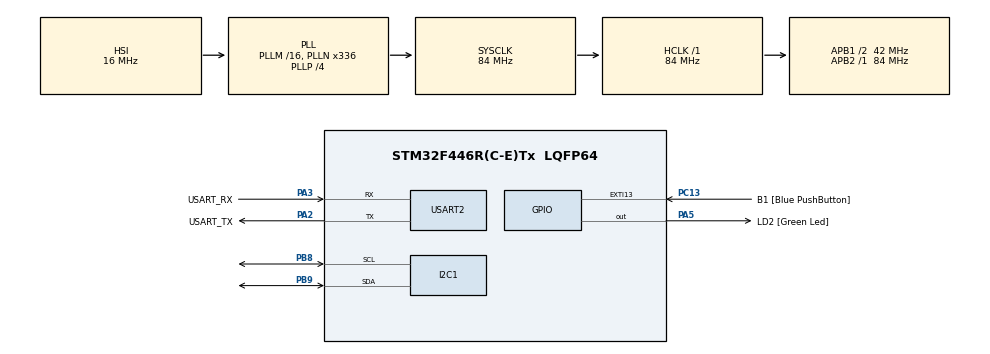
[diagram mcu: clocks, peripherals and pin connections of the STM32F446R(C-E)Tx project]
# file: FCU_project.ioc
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Mcu.Family=STM32F4
Mcu.Name=STM32F446R(C-E)Tx
Mcu.Package=LQFP64
NVIC.PriorityGroup=NVIC_PRIORITYGROUP_0
PA13.GPIO_Label=TMS
PA13.Mode=Serial_Wire
PA13.Signal=SYS_JTMS-SWDIO
PA14.GPIO_Label=TCK
PA14.Mode=Serial_Wire
PA14.Signal=SYS_JTCK-SWCLK
PA2.GPIO_Label=USART_TX
PA2.Mode=Asynchronous
PA2.Signal=USART2_TX
PA3.GPIO_Label=USART_RX
PA3.Mode=Asynchronous
PA3.Signal=USART2_RX
PA5.GPIO_Label=LD2 [Green Led]
PA5.Signal=GPIO_Output
PB3.GPIO_Label=SWO
PB3.Signal=SYS_JTDO-SWO
PB8.Mode=I2C
PB8.Signal=I2C1_SCL
PB9.Mode=I2C
PB9.Signal=I2C1_SDA
PC13.GPIO_Label=B1 [Blue PushButton]
PC13.GPIO_ModeDefaultEXTI=GPIO_MODE_IT_FALLING
PC13.Signal=GPXTI13
PC14-OSC32_IN.Mode=LSE-External-Oscillator
PC14-OSC32_IN.Signal=RCC_OSC32_IN
PC15-OSC32_OUT.Mode=LSE-External-Oscillator
PC15-OSC32_OUT.Signal=RCC_OSC32_OUT
PH0-OSC_IN.Mode=HSE-External-Oscillator
PH0-OSC_IN.Signal=RCC_OSC_IN
PH1-OSC_OUT.Mode=HSE-External-Oscillator
PH1-OSC_OUT.Signal=RCC_OSC_OUT
ProjectManager.HeapSize=0x200
ProjectManager.StackSize=0x400
ProjectManager.TargetToolchain=STM32CubeIDE
RCC.48MHZClocksFreq_Value=84000000
RCC.AHBFreq_Value=84000000
RCC.APB1CLKDivider=RCC_HCLK_DIV2
RCC.APB1Freq_Value=42000000
RCC.APB1TimFreq_Value=84000000
RCC.APB2Freq_Value=84000000
RCC.APB2TimFreq_Value=84000000
RCC.CortexFreq_Value=84000000
RCC.FLatency-AdvancedSettings=FLASH_LATENCY_2
RCC.HCLKFreq_Value=84000000
RCC.HSE_VALUE=8000000
RCC.HSI_VALUE=16000000
RCC.PLLN=336
RCC.PLLP=RCC_PLLP_DIV4
RCC.SYSCLKFreq_VALUE=84000000
RCC.SYSCLKSource=RCC_SYSCLKSOURCE_PLLCLK
RCC.USBFreq_Value=168000000
RCC.VCOOutputFreq_Value=336000000
USART2.VirtualMode=VM_ASYNC
board=NUCLEO-F446RE

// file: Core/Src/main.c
/* USER CODE BEGIN Header */
/**
  ******************************************************************************
  * @file           : main.c
  * @brief          : Main program body
  ******************************************************************************
  * @attention
  *
  * Copyright (c) 2026 STMicroelectronics.
  * All rights reserved.
  *
  * This software is licensed under terms that can be found in the LICENSE file
  * in the root directory of this software component.
  * If no LICENSE file comes with this software, it is provided AS-IS.
  *
  ******************************************************************************
  */
/* USER CODE END Header */

#include "main.h"

/* USER CODE BEGIN Includes */

#include "stm32f4xx_hal.h"
#include <math.h>
#include <stdio.h>
#include <string.h>
#include <stdlib.h>

/* USER CODE END Includes */

/* USER CODE BEGIN PD */

#define BMP280_ADDR 0x76 << 1  // I2C address shifted for STM32 HAL
#define BMP280_CTRL_MEAS 0xF4
#define BMP280_CONFIG    0xF5
#define BMP280_PRESS_MSB 0xF7
#define BMP280_TEMP_MSB  0xFA

#define ICM20948_ADDR 0x69 << 1 // Default I2C address for IMU
#define ICM_WHO_AM_I  0x00      // WHO_AM_I register
#define ICM_PWR_MGMT_1 0x06     // Power management register
#define ICM_ACCEL_XOUT_H 0x2D   // First accel register (high byte)
#define ICM_GYRO_XOUT_H  0x33   // First gyro register (high byte)
#define ICM_MAG_XOUT_L   0x11   // Magnetometer register (external)

/* USER CODE END PD */

I2C_HandleTypeDef hi2c1;

UART_HandleTypeDef huart2;

/* USER CODE BEGIN PV */

float ground_pressure = 1013.25f;  // pressure at startup (reference)

// BMP280 calibration values
uint16_t dig_T1;
int16_t  dig_T2;
int16_t  dig_T3;
uint16_t dig_P1;
int16_t  dig_P2;
int16_t  dig_P3;
int16_t  dig_P4;
int16_t  dig_P5;
int16_t  dig_P6;
int16_t  dig_P7;
int16_t  dig_P8;
int16_t  dig_P9;

// IMU raw data
int16_t accel_x, accel_y, accel_z;
int16_t gyro_x, gyro_y, gyro_z;
int16_t mag_x, mag_y, mag_z;

// t_fine variable used in compensation
int32_t t_fine;

/* USER CODE END PV */

void SystemClock_Config(void);
static void MX_GPIO_Init(void);
static void MX_USART2_UART_Init(void);
static void MX_I2C1_Init(void);

/* USER CODE BEGIN PFP */

HAL_StatusTypeDef BMP280_ReadCalibration(I2C_HandleTypeDef *hi2c);
void BMP280_Init(I2C_HandleTypeDef *hi2c);
int32_t BMP280_ReadRawTemperature(I2C_HandleTypeDef *hi2c);
int32_t BMP280_ReadRawPressure(I2C_HandleTypeDef *hi2c);
float BMP280_CompensateTemperature(int32_t adc_T);
float BMP280_CompensatePressure(int32_t adc_P);
float BMP280_CalcAltitude(float pressure);

/* USER CODE END PFP */

/* USER CODE BEGIN 0 */

// Read calibration data from BMP280
HAL_StatusTypeDef BMP280_ReadCalibration(I2C_HandleTypeDef *hi2c)
{
    uint8_t calib[24];
    if(HAL_I2C_Mem_Read(hi2c, BMP280_ADDR, 0x88, I2C_MEMADD_SIZE_8BIT, calib, 24, 100) != HAL_OK)
        return HAL_ERROR;

    dig_T1 = (uint16_t)(calib[1] << 8 | calib[0]);
    dig_T2 = (int16_t)(calib[3] << 8 | calib[2]);
    dig_T3 = (int16_t)(calib[5] << 8 | calib[4]);
    dig_P1 = (uint16_t)(calib[7] << 8 | calib[6]);
    dig_P2 = (int16_t)(calib[9] << 8 | calib[8]);
    dig_P3 = (int16_t)(calib[11] << 8 | calib[10]);
    dig_P4 = (int16_t)(calib[13] << 8 | calib[12]);
    dig_P5 = (int16_t)(calib[15] << 8 | calib[14]);
    dig_P6 = (int16_t)(calib[17] << 8 | calib[16]);
    dig_P7 = (int16_t)(calib[19] << 8 | calib[18]);
    dig_P8 = (int16_t)(calib[21] << 8 | calib[20]);
    dig_P9 = (int16_t)(calib[23] << 8 | calib[22]);

    return HAL_OK;
}

// Initialize BMP280
void BMP280_Init(I2C_HandleTypeDef *hi2c)
{
    uint8_t ctrl_meas_data = 0x27; // Normal mode, temp x1, press x1
    uint8_t config_data = 0xA0;    // Standby 1000ms, filter off

    HAL_I2C_Mem_Write(hi2c, BMP280_ADDR, BMP280_CTRL_MEAS, I2C_MEMADD_SIZE_8BIT, &ctrl_meas_data, 1, 100);
    HAL_I2C_Mem_Write(hi2c, BMP280_ADDR, BMP280_CONFIG, I2C_MEMADD_SIZE_8BIT, &config_data, 1, 100);
}

// Read raw temperature
int32_t BMP280_ReadRawTemperature(I2C_HandleTypeDef *hi2c)
{
    uint8_t buf[3];
    HAL_I2C_Mem_Read(hi2c, BMP280_ADDR, BMP280_TEMP_MSB, I2C_MEMADD_SIZE_8BIT, buf, 3, 100);
    return ((int32_t)buf[0] << 12) | ((int32_t)buf[1] << 4) | (buf[2] >> 4);
}

// Read raw pressure
int32_t BMP280_ReadRawPressure(I2C_HandleTypeDef *hi2c)
{
    uint8_t buf[3];
    HAL_I2C_Mem_Read(hi2c, BMP280_ADDR, BMP280_PRESS_MSB, I2C_MEMADD_SIZE_8BIT, buf, 3, 100);
    return ((int32_t)buf[0] << 12) | ((int32_t)buf[1] << 4) | (buf[2] >> 4);
}

// Temperature compensation formula
float BMP280_CompensateTemperature(int32_t adc_T)
{
	int32_t var1, var2;

	var1 = ((((adc_T >> 3) - ((int32_t)dig_T1 << 1))) * ((int32_t)dig_T2)) >> 11;
	var2 = (((((adc_T >> 4) - ((int32_t)dig_T1)) * ((adc_T >> 4) - ((int32_t)dig_T1))) >> 12) * ((int32_t)dig_T3)) >> 14;

	t_fine = var1 + var2;

	// Convert t_fine to °C
	return t_fine / 5120.0f;
}

// Pressure compensation formula
float BMP280_CompensatePressure(int32_t adc_P)
{
    int64_t var1, var2, p;
    var1 = ((int64_t)t_fine) - 128000;
    var2 = var1 * var1 * (int64_t)dig_P6;
    var2 = var2 + ((var1*(int64_t)dig_P5)<<17);
    var2 = var2 + (((int64_t)dig_P4)<<35);
    var1 = ((var1 * var1 * (int64_t)dig_P3)>>8) + ((var1 * (int64_t)dig_P2)<<12);
    var1 = (((((int64_t)1)<<47)+var1))*((int64_t)dig_P1)>>33;
    if(var1 == 0) return 0; // avoid division by zero
    p = 1048576 - adc_P;
    p = (((p<<31) - var2)*3125)/var1;
    var1 = (((int64_t)dig_P9) * (p>>13) * (p>>13)) >> 25;
    var2 = (((int64_t)dig_P8) * p) >> 19;
    p = ((p + var1 + var2) >> 8) + (((int64_t)dig_P7)<<4);
    return (float)p / 25600.0f; // hPa
}

// Altitude relative to ground (0 m)
float BMP280_CalcAltitudeRelative(float pressure, float p0)
{
    return 44330.0f * (1.0f - powf(pressure / p0, 0.1903f));
}

/* Simple HAL I2C write */
HAL_StatusTypeDef IMU_WriteReg(uint8_t reg, uint8_t val)
{
    return HAL_I2C_Mem_Write(&hi2c1, ICM20948_ADDR, reg, I2C_MEMADD_SIZE_8BIT, &val, 1, 100);
}

/* Simple HAL I2C read */
HAL_StatusTypeDef IMU_ReadReg(uint8_t reg, uint8_t *data, uint16_t len)
{
    return HAL_I2C_Mem_Read(&hi2c1, ICM20948_ADDR, reg, I2C_MEMADD_SIZE_8BIT, data, len, 100);
}

/* Initialize IMU */
HAL_StatusTypeDef IMU_Init(void)
{
    uint8_t whoami;
    IMU_ReadReg(ICM_WHO_AM_I, &whoami, 1);
    if(whoami != 0xEA) // Expected WHO_AM_I for ICM-20948
        return HAL_ERROR;

    // Wake up IMU (clear sleep)
    IMU_WriteReg(ICM_PWR_MGMT_1, 0x01); // Auto selects best clock source
    HAL_Delay(10);
    return HAL_OK;
}

/* Read accelerometer and gyroscope */
HAL_StatusTypeDef IMU_ReadAccelGyro(void)
{
    uint8_t buf[12];
    if(IMU_ReadReg(ICM_ACCEL_XOUT_H, buf, 12) != HAL_OK) return HAL_ERROR;

    accel_x = (int16_t)((buf[0] << 8) | buf[1]);
    accel_y = (int16_t)((buf[2] << 8) | buf[3]);
    accel_z = (int16_t)((buf[4] << 8) | buf[5]);

    gyro_x = (int16_t)((buf[6] << 8) | buf[7]);
    gyro_y = (int16_t)((buf[8] << 8) | buf[9]);
    gyro_z = (int16_t)((buf[10] << 8) | buf[11]);

    return HAL_OK;
}

/* USER CODE END 0 */

int main(void)
{

  /* MCU Configuration--------------------------------------------------------*/

  /* Reset of all peripherals, Initializes the Flash interface and the Systick. */
  HAL_Init();

  /* Configure the system clock */
  SystemClock_Config();

  /* Initialize all configured peripherals */
  MX_GPIO_Init();
  MX_USART2_UART_Init();
  MX_I2C1_Init();

  /* USER CODE BEGIN 2 */

  // Initialize sensor
  BMP280_Init(&hi2c1);

  HAL_Delay(100);  // give sensor time to start

  // Read calibration
  BMP280_ReadCalibration(&hi2c1);

  char msg[64];

  HAL_Delay(1000);  // let BMP280 fully stabilize

  // Measure ground pressure (average of 10 samples)
  float p_sum = 0.0f;

  for (int i = 0; i < 10; i++) {
      int32_t rt = BMP280_ReadRawTemperature(&hi2c1);
      BMP280_CompensateTemperature(rt);

      int32_t rp = BMP280_ReadRawPressure(&hi2c1);
      p_sum += BMP280_CompensatePressure(rp);

      HAL_Delay(100);
  }

  ground_pressure = p_sum / 10.0f;

  // IMU init
  if(IMU_Init() != HAL_OK)
  {
      char error_msg[] = "IMU init failed!\r\n";
      HAL_UART_Transmit(&huart2, (uint8_t*)error_msg, strlen(error_msg), HAL_MAX_DELAY);
  }

  /* USER CODE END 2 */

  /* Infinite loop */
  /* USER CODE BEGIN WHILE */
  while (1)
  {
      // Read raw BMP280 data
      int32_t raw_temp = BMP280_ReadRawTemperature(&hi2c1);
      int32_t raw_press = BMP280_ReadRawPressure(&hi2c1);

      // Convert to real values
      float temp = BMP280_CompensateTemperature(raw_temp);
      float press = BMP280_CompensatePressure(raw_press);
      float alt = BMP280_CalcAltitudeRelative(press, ground_pressure);

      // --- IMU readings ---
      if(IMU_ReadAccelGyro() == HAL_OK)
      {
          // Convert raw accel to g (±2g default)
          float ax = accel_x / 16384.0f;
          float ay = accel_y / 16384.0f;
          float az = accel_z / 16384.0f;

          // Convert raw gyro to dps (±250 dps default)
          float gx = gyro_x / 131.0f;
          float gy = gyro_y / 131.0f;
          float gz = gyro_z / 131.0f;

          sprintf(msg,
              "Temp: %.2f C, Press: %.2f hPa, Alt: %.2f m | "
              "Ax: %.2f g, Ay: %.2f g, Az: %.2f g | "
              "Gx: %.2f dps, Gy: %.2f dps, Gz: %.2f dps\r\n",
              temp, press, alt,
              ax, ay, az,
              gx, gy, gz
          );
      }
      else
      {
          sprintf(msg,
              "Temp: %.2f C, Press: %.2f hPa, Alt: %.2f m | IMU Read Error\r\n",
              temp, press, alt
          );
      }

      HAL_UART_Transmit(&huart2, (uint8_t*)msg, strlen(msg), HAL_MAX_DELAY);

      HAL_GPIO_TogglePin(LD2_GPIO_Port, LD2_Pin);
      HAL_Delay(500); // blink every 0.5 seconds

      /* USER CODE END WHILE */

  }
}

void SystemClock_Config(void)
{
  RCC_OscInitTypeDef RCC_OscInitStruct = {0};
  RCC_ClkInitTypeDef RCC_ClkInitStruct = {0};

  /** Configure the main internal regulator output voltage
  */
  __HAL_RCC_PWR_CLK_ENABLE();
  __HAL_PWR_VOLTAGESCALING_CONFIG(PWR_REGULATOR_VOLTAGE_SCALE3);

  /** Initializes the RCC Oscillators according to the specified parameters
  * in the RCC_OscInitTypeDef structure.
  */
  RCC_OscInitStruct.OscillatorType = RCC_OSCILLATORTYPE_HSI;
  RCC_OscInitStruct.HSIState = RCC_HSI_ON;
  RCC_OscInitStruct.HSICalibrationValue = RCC_HSICALIBRATION_DEFAULT;
  RCC_OscInitStruct.PLL.PLLState = RCC_PLL_ON;
  RCC_OscInitStruct.PLL.PLLSource = RCC_PLLSOURCE_HSI;
  RCC_OscInitStruct.PLL.PLLM = 16;
  RCC_OscInitStruct.PLL.PLLN = 336;
  RCC_OscInitStruct.PLL.PLLP = RCC_PLLP_DIV4;
  RCC_OscInitStruct.PLL.PLLQ = 2;
  RCC_OscInitStruct.PLL.PLLR = 2;
  if (HAL_RCC_OscConfig(&RCC_OscInitStruct) != HAL_OK)
  {
    Error_Handler();
  }

  /** Initializes the CPU, AHB and APB buses clocks
  */
  RCC_ClkInitStruct.ClockType = RCC_CLOCKTYPE_HCLK|RCC_CLOCKTYPE_SYSCLK
                              |RCC_CLOCKTYPE_PCLK1|RCC_CLOCKTYPE_PCLK2;
  RCC_ClkInitStruct.SYSCLKSource = RCC_SYSCLKSOURCE_PLLCLK;
  RCC_ClkInitStruct.AHBCLKDivider = RCC_SYSCLK_DIV1;
  RCC_ClkInitStruct.APB1CLKDivider = RCC_HCLK_DIV2;
  RCC_ClkInitStruct.APB2CLKDivider = RCC_HCLK_DIV1;

  if (HAL_RCC_ClockConfig(&RCC_ClkInitStruct, FLASH_LATENCY_2) != HAL_OK)
  {
    Error_Handler();
  }
}

static void MX_I2C1_Init(void)
{

  hi2c1.Instance = I2C1;
  hi2c1.Init.ClockSpeed = 100000;
  hi2c1.Init.DutyCycle = I2C_DUTYCYCLE_2;
  hi2c1.Init.OwnAddress1 = 0;
  hi2c1.Init.AddressingMode = I2C_ADDRESSINGMODE_7BIT;
  hi2c1.Init.DualAddressMode = I2C_DUALADDRESS_DISABLE;
  hi2c1.Init.OwnAddress2 = 0;
  hi2c1.Init.GeneralCallMode = I2C_GENERALCALL_DISABLE;
  hi2c1.Init.NoStretchMode = I2C_NOSTRETCH_DISABLE;
  if (HAL_I2C_Init(&hi2c1) != HAL_OK)
  {
    Error_Handler();
  }

}

static void MX_USART2_UART_Init(void)
{

  huart2.Instance = USART2;
  huart2.Init.BaudRate = 115200;
  huart2.Init.WordLength = UART_WORDLENGTH_8B;
  huart2.Init.StopBits = UART_STOPBITS_1;
  huart2.Init.Parity = UART_PARITY_NONE;
  huart2.Init.Mode = UART_MODE_TX_RX;
  huart2.Init.HwFlowCtl = UART_HWCONTROL_NONE;
  huart2.Init.OverSampling = UART_OVERSAMPLING_16;
  if (HAL_UART_Init(&huart2) != HAL_OK)
  {
    Error_Handler();
  }

}

static void MX_GPIO_Init(void)
{
  GPIO_InitTypeDef GPIO_InitStruct = {0};

  /* GPIO Ports Clock Enable */
  __HAL_RCC_GPIOC_CLK_ENABLE();
  __HAL_RCC_GPIOH_CLK_ENABLE();
  __HAL_RCC_GPIOA_CLK_ENABLE();
  __HAL_RCC_GPIOB_CLK_ENABLE();

  /*Configure GPIO pin Output Level */
  HAL_GPIO_WritePin(LD2_GPIO_Port, LD2_Pin, GPIO_PIN_RESET);

  /*Configure GPIO pin : B1_Pin */
  GPIO_InitStruct.Pin = B1_Pin;
  GPIO_InitStruct.Mode = GPIO_MODE_IT_FALLING;
  GPIO_InitStruct.Pull = GPIO_NOPULL;
  HAL_GPIO_Init(B1_GPIO_Port, &GPIO_InitStruct);

  /*Configure GPIO pin : LD2_Pin */
  GPIO_InitStruct.Pin = LD2_Pin;
  GPIO_InitStruct.Mode = GPIO_MODE_OUTPUT_PP;
  GPIO_InitStruct.Pull = GPIO_NOPULL;
  GPIO_InitStruct.Speed = GPIO_SPEED_FREQ_LOW;
  HAL_GPIO_Init(LD2_GPIO_Port, &GPIO_InitStruct);

}

void Error_Handler(void)
{
  __disable_irq();
  while (1)
  {
  }
}
